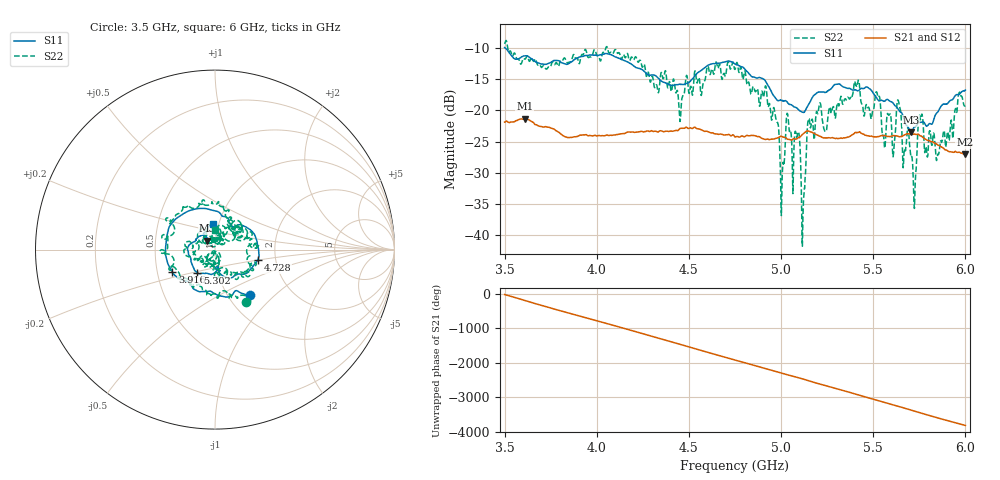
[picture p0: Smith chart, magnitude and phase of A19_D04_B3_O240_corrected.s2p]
! Created with skrf 1.9.0 (http://scikit-rf.org).
# Hz S RI R 50.0
!freq ReS11 ImS11 ReS21 ImS21 ReS12 ImS12 ReS22 ImS22
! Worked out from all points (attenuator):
!   1601 points, 3.5 GHz to 6 GHz, reference 50 ohm
!   highest |S21| = -21.36 dB at 3.609 GHz (marker M1); lowest = -27.0 dB at 5.997 GHz (marker M2)
!   lowest |S11| = -23.5 dB at 5.705 GHz (marker M3), VSWR 1.14, Z = 45.5 + j4.48 ohm
!   |S11| at or under -10 dB: 3.502 GHz to end of sweep
!   |S22| runs from -41.7 to -8.8 dB; largest |S21 - S12| = 0.0011
!   S11 on the Smith chart (normalised r, x): 3.5 GHz: 1.26, -0.71; 3.916 GHz: 0.60, -0.16; 4.728 GHz: 1.61, -0.20; 5.302 GHz: 0.80, -0.21; 6 GHz: 0.94, +0.28
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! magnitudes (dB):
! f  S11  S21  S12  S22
! 3.5 GHz  -10.0  -21.9  -21.9  -9.4
! 3.609 GHz  -11.3  -21.4  -21.4  -11.8
! 3.916 GHz  -11.4  -24.0  -23.9  -11.3
! 3.917 GHz  -11.4  -24.0  -23.9  -11.2
! 4.334 GHz  -14.9  -23.5  -23.4  -17.2
! 4.728 GHz  -12.2  -24.1  -24.0  -13.2
! 4.75 GHz  -12.6  -24.3  -24.2  -13.5
! 4.969 GHz  -18.0  -24.5  -24.5  -20.9
! 5.006 GHz  -18.5  -24.2  -24.2  -30.4
! 5.036 GHz  -18.8  -24.6  -24.6  -20.6
! 5.088 GHz  -19.7  -24.5  -24.5  -24.1
! 5.12 GHz  -20.3  -23.8  -23.7  -35.6
! 5.167 GHz  -18.1  -23.5  -23.5  -21.5
! 5.302 GHz  -15.8  -24.5  -24.4  -19.5
! 5.411 GHz  -16.8  -23.6  -23.5  -15.8
! 5.584 GHz  -18.4  -24.2  -24.1  -20.7
! 5.705 GHz  -23.5  -23.8  -23.8  -27.3
! 5.723 GHz  -22.7  -23.8  -23.7  -35.7
! 5.756 GHz  -21.9  -24.1  -24.0  -21.5
! 5.848 GHz  -20.3  -25.5  -25.4  -27.3
! 5.997 GHz  -16.8  -27.0  -26.9  -19.3
! 6 GHz  -16.8  -27.0  -27.0  -19.3
